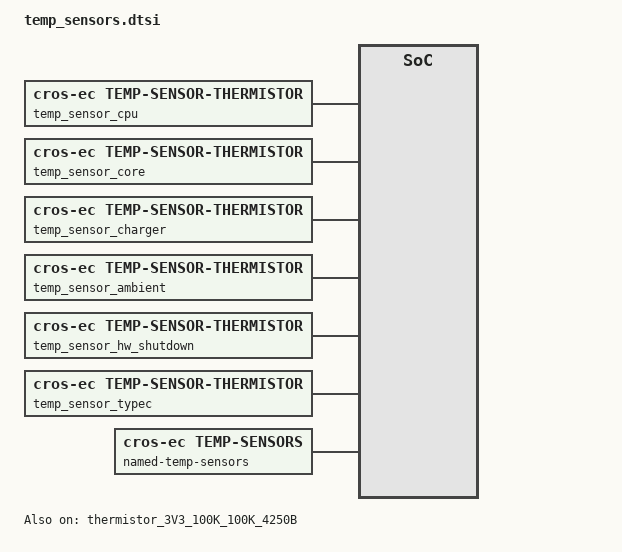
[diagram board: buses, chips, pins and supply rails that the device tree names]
/* Copyright 2026 The ChromiumOS Authors
 * Use of this source code is governed by a BSD-style license that can be
 * found in the LICENSE file.
 */

#include <cros/thermistor/thermistor.dtsi>

/ {
	temp_sensor_cpu: cpu {
		compatible = "cros-ec,temp-sensor-thermistor";
		thermistor = <&thermistor_3V3_100K_100K_4250B>;
		adc = <&adc_temp_cpu>;
	};
	temp_sensor_core: core {
		compatible = "cros-ec,temp-sensor-thermistor";
		thermistor = <&thermistor_3V3_100K_100K_4250B>;
		adc = <&adc_temp_core>;
	};
	temp_sensor_charger: charger {
		compatible = "cros-ec,temp-sensor-thermistor";
		thermistor = <&thermistor_3V3_100K_100K_4250B>;
		adc = <&adc_temp_charger>;
	};
	temp_sensor_ambient: ambient {
		compatible = "cros-ec,temp-sensor-thermistor";
		thermistor = <&thermistor_3V3_100K_100K_4250B>;
		adc = <&adc_temp_ambient>;
	};
	temp_sensor_hw_shutdown: hw_shutdown {
		compatible = "cros-ec,temp-sensor-thermistor";
		thermistor = <&thermistor_3V3_100K_100K_4250B>;
		adc = <&adc_temp_hw_shutdown>;
	};
	temp_sensor_typec: typec {
		compatible = "cros-ec,temp-sensor-thermistor";
		thermistor = <&thermistor_3V3_100K_100K_4250B>;
		adc = <&adc_temp_typec>;
	};

	named-temp-sensors {
		compatible = "cros-ec,temp-sensors";
		temp_cpu: cpu {
			sensor = <&temp_sensor_cpu>;
		};
		temp_core: core {
			sensor = <&temp_sensor_core>;
		};
		temp_charger: charger {
			sensor = <&temp_sensor_charger>;
		};
		temp_ambient: ambient {
			sensor = <&temp_sensor_ambient>;
		};
		temp_hw_shutdown: hw_shutdown {
			sensor = <&temp_sensor_hw_shutdown>;
		};
		temp_typec: typec {
			sensor = <&temp_sensor_typec>;
		};
	};
};

&thermistor_3V3_100K_100K_4250B {
	status = "okay";
};
